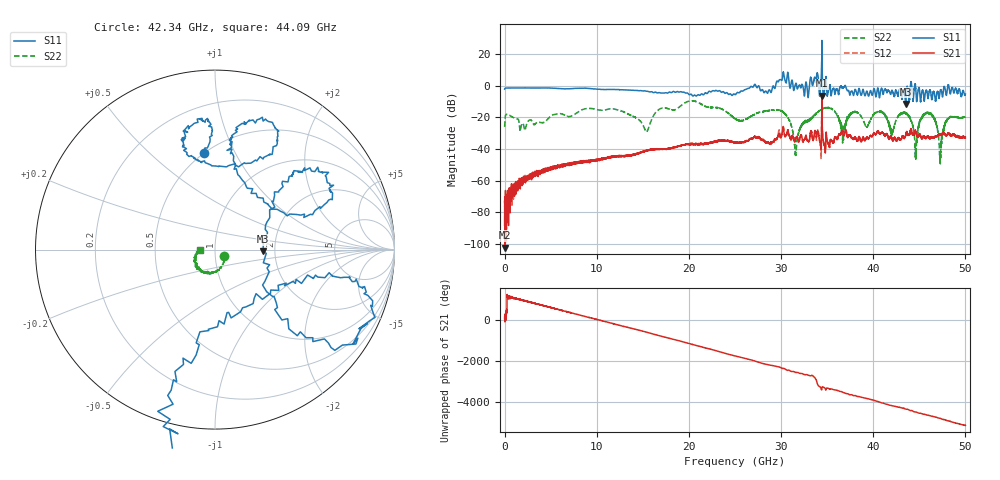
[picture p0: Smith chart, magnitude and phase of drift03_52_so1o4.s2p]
!Created with skrf (http://scikit-rf.org).
# Hz S RI R 50.0
!freq ReS11 ImS11 ReS21 ImS21 ReS12 ImS12 ReS22 ImS22
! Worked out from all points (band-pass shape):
!   10000 points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, 5.3 MHz to 50 GHz, reference 50 ohm
!   highest |S21| = -6.19 dB at 34.43 GHz (marker M1); lowest = -102.2 dB at 40.3 MHz (marker M2)
!   |S21| within 3 dB of the highest: 34.4276 GHz to 34.43418 GHz (6.581 MHz wide, 0.0191 % of centre)
!   lowest |S11| = -11.5 dB at 43.52 GHz (marker M3), VSWR 1.73, Z = 86.3 - j1.59 ohm
!   |S11| at or under -10 dB: 43.48854 GHz to 43.54237 GHz (53.83 MHz wide, 0.124 % of centre); 44.70474 GHz to 44.70658 GHz (1.841 MHz wide, 0.00412 % of centre); 45.13825 GHz to 45.14192 GHz (3.674 MHz wide, 0.00814 % of centre)
!   |S22| runs from -49.3 to -9.4 dB; largest |S21 - S12| = 0.15
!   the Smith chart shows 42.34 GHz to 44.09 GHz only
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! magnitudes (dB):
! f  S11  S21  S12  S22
! 5.3 MHz  -2.1  -88.1  -74.5  -25.9
! 40.3 MHz  -1.7  -102.2  -78.4  -21.4
! 2.09 GHz  -1.3  -59.8  -59.7  -25.3
! 8.34 GHz  -1.5  -48.1  -47.9  -15.3
! 15.39 GHz  -3.4  -41.1  -40.9  -28.9
! 16.67 GHz  -4.4  -40.1  -40.0  -15.3
! 20.45 GHz  -6.5  -37.1  -37.0  -9.5
! 25.01 GHz  -5.5  -35.7  -36.0  -20.8
! 29.93 GHz  4.0  -32.7  -31.8  -15.6
! 31.6 GHz  1.5  -33.8  -33.9  -43.4
! 33.34 GHz  2.7  -30.4  -30.5  -20.4
! 34.43 GHz  28.7  -6.2  -8.3  -14.5
! 36.7 GHz  -1.3  -30.1  -30.1  -30.6
! 37.95 GHz  -4.0  -32.7  -32.7  -16.2
! 41.67 GHz  -3.0  -33.4  -33.4  -23.0
! 43.52 GHz  -11.5  -31.1  -31.2  -17.3
! 44.6 GHz  -1.2  -29.0  -29.0  -42.6
! 45.27 GHz  -4.0  -33.2  -33.1  -20.1
! 46.28 GHz  -5.9  -32.2  -32.7  -17.6
! 47.29 GHz  -2.9  -30.8  -30.7  -43.1
! 48.15 GHz  0.5  -30.0  -29.7  -20.7
! 50 GHz  -5.2  -33.0  -32.5  -19.5
